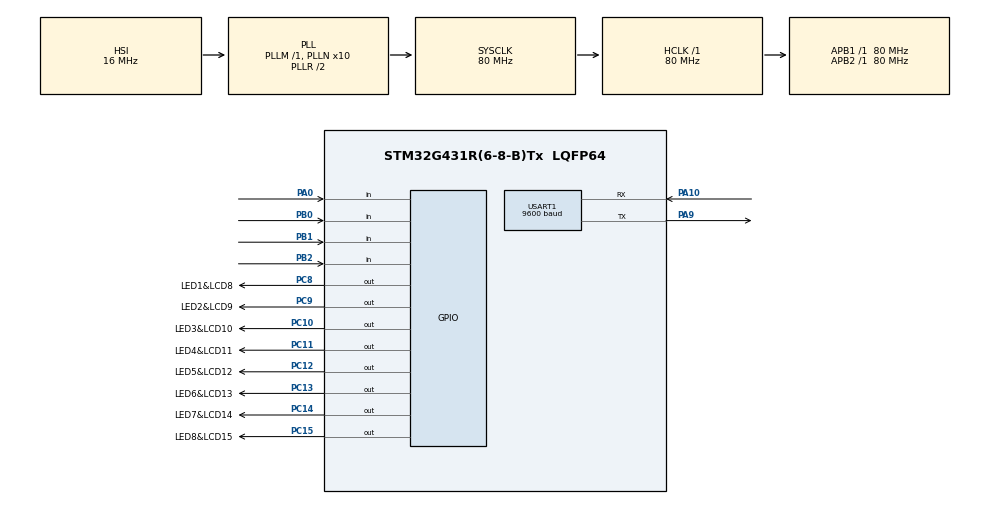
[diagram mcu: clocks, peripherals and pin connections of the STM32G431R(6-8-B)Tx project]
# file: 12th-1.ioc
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Mcu.Family=STM32G4
Mcu.Name=STM32G431R(6-8-B)Tx
Mcu.Package=LQFP64
NVIC.PriorityGroup=NVIC_PRIORITYGROUP_4
NVIC.USART1_IRQn=true\:0\:0\:false\:false\:true\:true\:true\:true
PA0.Signal=GPIO_Input
PA10.Mode=Asynchronous
PA10.Signal=USART1_RX
PA13.Mode=Serial_Wire
PA13.Signal=SYS_JTMS-SWDIO
PA14.Mode=Serial_Wire
PA14.Signal=SYS_JTCK-SWCLK
PA9.Mode=Asynchronous
PA9.Signal=USART1_TX
PB0.Signal=GPIO_Input
PB1.Signal=GPIO_Input
PB2.Signal=GPIO_Input
PC10.GPIO_Label=LED3&LCD10
PC10.Signal=GPIO_Output
PC11.GPIO_Label=LED4&LCD11
PC11.Signal=GPIO_Output
PC12.GPIO_Label=LED5&LCD12
PC12.Signal=GPIO_Output
PC13.GPIO_Label=LED6&LCD13
PC13.Signal=GPIO_Output
PC14-OSC32_IN.GPIO_Label=LED7&LCD14
PC14-OSC32_IN.Signal=GPIO_Output
PC15-OSC32_OUT.GPIO_Label=LED8&LCD15
PC15-OSC32_OUT.Signal=GPIO_Output
PC8.GPIO_Label=LED1&LCD8
PC8.Signal=GPIO_Output
PC9.GPIO_Label=LED2&LCD9
PC9.Signal=GPIO_Output
PF0-OSC_IN.Mode=HSE-External-Oscillator
PF0-OSC_IN.Signal=RCC_OSC_IN
PF1-OSC_OUT.Mode=HSE-External-Oscillator
PF1-OSC_OUT.Signal=RCC_OSC_OUT
ProjectManager.HeapSize=0x200
ProjectManager.StackSize=0x400
ProjectManager.TargetToolchain=MDK-ARM V5
RCC.ADC12Freq_Value=80000000
RCC.AHBFreq_Value=80000000
RCC.APB1Freq_Value=80000000
RCC.APB1TimFreq_Value=80000000
RCC.APB2Freq_Value=80000000
RCC.APB2TimFreq_Value=80000000
RCC.CortexFreq_Value=80000000
RCC.EXTERNAL_CLOCK_VALUE=12288000
RCC.HCLKFreq_Value=80000000
RCC.HSE_VALUE=24000000
RCC.HSI48_VALUE=48000000
RCC.HSI_VALUE=16000000
RCC.LSE_VALUE=32768
RCC.PLLN=10
RCC.SYSCLKFreq_VALUE=80000000
RCC.SYSCLKSource=RCC_SYSCLKSOURCE_PLLCLK
RCC.USBFreq_Value=80000000
RCC.VCOOutputFreq_Value=160000000
USART1.BaudRate=9600
USART1.VirtualMode-Asynchronous=VM_ASYNC
VP_SYS_VS_DBSignals.Mode=DisableDeadBatterySignals
board=custom

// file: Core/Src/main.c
/* USER CODE BEGIN Header */
/**
  ******************************************************************************
  * @file           : main.c
  * @brief          : Main program body
  ******************************************************************************
  * @attention
  *
  * Copyright (c) 2024 STMicroelectronics.
  * All rights reserved.
  *
  * This software is licensed under terms that can be found in the LICENSE file
  * in the root directory of this software component.
  * If no LICENSE file comes with this software, it is provided AS-IS.
  *
  ******************************************************************************
  */
/* USER CODE END Header */
#include "main.h"
#include "usart.h"
#include "gpio.h"

/* USER CODE BEGIN Includes */
#include "string.h"
#include "stdio.h"
#include "Bsp_Test.h"
#include "Bsp_LED.h"
#include "Bsp_Button.h"
#include "lcd.h"
#include "Bsp_Usart.h"
/* USER CODE END Includes */

void SystemClock_Config(void);

int main(void)
{

  /* MCU Configuration--------------------------------------------------------*/

  /* Reset of all peripherals, Initializes the Flash interface and the Systick. */
  HAL_Init();

  /* Configure the system clock */
  SystemClock_Config();

  /* Initialize all configured peripherals */
  MX_GPIO_Init();
  MX_USART1_UART_Init();
  /* USER CODE BEGIN 2 */

	LED_State=0;
	LED_Control(LED_State);
  LCD_Init();
	LCD_TestTask();

	sprintf((char *)Uart1_Tx_Buf, "hello world!\n");  //注意需要头文件："stdio.h"
  Uart1_Send(Uart1_Tx_Buf,strlen((char *)Uart1_Tx_Buf));
//	memset(Uart1_Tx_Buf, 0, sizeof(Uart1_Tx_Buf));
//	U1Tx_Len=0;     //一定要清零，要不会重复发送;

  /* USER CODE END 2 */

  /* Infinite loop */
  while (1)
  {

    /* USER CODE BEGIN 3 */

		KeyProcess();
		Uart1_RX_Pro();
  }
  /* USER CODE END 3 */
}

void SystemClock_Config(void)
{
  RCC_OscInitTypeDef RCC_OscInitStruct = {0};
  RCC_ClkInitTypeDef RCC_ClkInitStruct = {0};

  /** Configure the main internal regulator output voltage
  */
  HAL_PWREx_ControlVoltageScaling(PWR_REGULATOR_VOLTAGE_SCALE1);

  /** Initializes the RCC Oscillators according to the specified parameters
  * in the RCC_OscInitTypeDef structure.
  */
  RCC_OscInitStruct.OscillatorType = RCC_OSCILLATORTYPE_HSI;
  RCC_OscInitStruct.HSIState = RCC_HSI_ON;
  RCC_OscInitStruct.HSICalibrationValue = RCC_HSICALIBRATION_DEFAULT;
  RCC_OscInitStruct.PLL.PLLState = RCC_PLL_ON;
  RCC_OscInitStruct.PLL.PLLSource = RCC_PLLSOURCE_HSI;
  RCC_OscInitStruct.PLL.PLLM = RCC_PLLM_DIV1;
  RCC_OscInitStruct.PLL.PLLN = 10;
  RCC_OscInitStruct.PLL.PLLP = RCC_PLLP_DIV2;
  RCC_OscInitStruct.PLL.PLLQ = RCC_PLLQ_DIV2;
  RCC_OscInitStruct.PLL.PLLR = RCC_PLLR_DIV2;
  if (HAL_RCC_OscConfig(&RCC_OscInitStruct) != HAL_OK)
  {
    Error_Handler();
  }

  /** Initializes the CPU, AHB and APB buses clocks
  */
  RCC_ClkInitStruct.ClockType = RCC_CLOCKTYPE_HCLK|RCC_CLOCKTYPE_SYSCLK
                              |RCC_CLOCKTYPE_PCLK1|RCC_CLOCKTYPE_PCLK2;
  RCC_ClkInitStruct.SYSCLKSource = RCC_SYSCLKSOURCE_PLLCLK;
  RCC_ClkInitStruct.AHBCLKDivider = RCC_SYSCLK_DIV1;
  RCC_ClkInitStruct.APB1CLKDivider = RCC_HCLK_DIV1;
  RCC_ClkInitStruct.APB2CLKDivider = RCC_HCLK_DIV1;

  if (HAL_RCC_ClockConfig(&RCC_ClkInitStruct, FLASH_LATENCY_2) != HAL_OK)
  {
    Error_Handler();
  }
}

void Error_Handler(void)
{
  __disable_irq();
  while (1)
  {
  }
}
